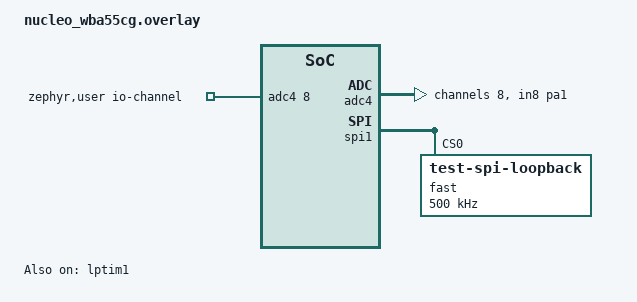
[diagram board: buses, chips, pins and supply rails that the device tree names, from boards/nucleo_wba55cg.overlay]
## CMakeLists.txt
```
# SPDX-License-Identifier: Apache-2.0

cmake_minimum_required(VERSION 3.20.0)
find_package(Zephyr REQUIRED HINTS $ENV{ZEPHYR_BASE})
project(stm32_pm_suspend_to_ram)

target_sources(app PRIVATE src/main.c)
```

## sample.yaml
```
sample:
  name: STM32 PM Standby Power Management
tests:
  sample.boards.stm32.power_mgmt.suspend_to_ram:
    tags:
      - power
    harness: console
    harness_config:
      type: one_line
      regex:
        - "Exit Standby"
    filter: dt_compat_enabled("zephyr,power-state") and
            dt_enabled_alias_with_parent_compat("led0", "gpio-leds") and
            dt_compat_enabled("st,stm32-lptim")
    extra_args: "CONFIG_DEBUG=y"
    platform_allow:
      - nucleo_wba55cg
```

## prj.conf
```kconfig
CONFIG_PM=y
CONFIG_PM_DEVICE=y
CONFIG_PM_DEVICE_RUNTIME=y
CONFIG_PM_DEVICE_SYSTEM_MANAGED=y
CONFIG_PM_S2RAM=y
CONFIG_ADC=y
CONFIG_ENTROPY_GENERATOR=y
CONFIG_SPI=y
CONFIG_SPI_STM32_DMA=y
CONFIG_SPI_STM32_INTERRUPT=n
CONFIG_SPI_ASYNC=n
```

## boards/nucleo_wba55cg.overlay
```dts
/*
 * SPDX-License-Identifier: Apache-2.0
 *
 * Copyright (c) 2023 STMicroelectronics
 */

/ {
	/* Change min residency time to ease power consumption measurement */
	cpus {
		cpu0: cpu@0 {
			cpu-power-states = <&stop0 &stop1 &standby>;
		};

		power-states {
			stop0: state0 {
				min-residency-us = <500000>;
				exit-latency-us = <50>;
			};
			stop1: state1 {
				min-residency-us = <1000000>;
				exit-latency-us = <100>;
			};
			standby: state2 {
				min-residency-us = <2000000>;
				exit-latency-us = <1000>;
			};
		};
	};

	zephyr,user {
		/* adjust channel number according to pinmux in board.dts */
		io-channels = <&adc4 8>;
	};
};

&lptim1 {
	status = "okay";
};

&adc4 {
	pinctrl-0 = <&adc4_in8_pa1>;
	#address-cells = <1>;
	#size-cells = <0>;

	channel@8 {
		reg = <8>;
		zephyr,gain = "ADC_GAIN_1";
		zephyr,reference = "ADC_REF_INTERNAL";
		zephyr,acquisition-time = <ADC_ACQ_TIME_MAX>;
		zephyr,resolution = <12>;
	};
};

&spi1 {
	dmas = <&gpdma1 0 2 (STM32_DMA_PERIPH_TX | STM32_DMA_PRIORITY_HIGH)
		&gpdma1 1 1 (STM32_DMA_PERIPH_RX | STM32_DMA_PRIORITY_HIGH)>;
	dma-names = "tx", "rx";
	fast@0 {
		compatible = "test-spi-loopback";
		reg = <0>;
		spi-max-frequency = <500000>;
	};
};

&gpdma1 {
	status = "okay";
};
```

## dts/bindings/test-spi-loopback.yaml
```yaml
#
# Copyright (c) 2024 STMicroelectronics
#
# SPDX-License-Identifier: Apache-2.0
#

description: |
    This binding provides resources required to build and run an SPI
    loopback test under power management conditions

compatible: "test-spi-loopback"

include: [spi-device.yaml]
```

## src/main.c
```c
/*
 * Copyright (c) 2024 STMicroelectronics
 *
 * SPDX-License-Identifier: Apache-2.0
 */

#include <zephyr/kernel.h>
#include <zephyr/device.h>
#include <zephyr/devicetree.h>
#include <zephyr/drivers/gpio.h>
#include <zephyr/sys/printk.h>
#include <zephyr/pm/pm.h>
#include <zephyr/pm/device_runtime.h>
#include <zephyr/drivers/adc.h>
#include <zephyr/drivers/entropy.h>
#include <zephyr/drivers/spi.h>
#include <string.h>
#include <stdio.h>
#include <assert.h>

#define SLEEP_TIME_STOP0_MS	800
#define SLEEP_TIME_STOP1_MS	1500
#define SLEEP_TIME_STANDBY_MS	3000
#define SLEEP_TIME_BUSY_MS	2000

static const struct gpio_dt_spec led =
	GPIO_DT_SPEC_GET(DT_ALIAS(led2), gpios);

#if !DT_NODE_EXISTS(DT_PATH(zephyr_user)) || \
	!DT_NODE_HAS_PROP(DT_PATH(zephyr_user), io_channels)
#error "No suitable devicetree overlay specified"
#endif

#define DT_SPEC_AND_COMMA(node_id, prop, idx) \
	ADC_DT_SPEC_GET_BY_IDX(node_id, idx),

/* Data of ADC io-channels specified in devicetree. */
static const struct adc_dt_spec adc_channels[] = {
	DT_FOREACH_PROP_ELEM(DT_PATH(zephyr_user), io_channels,
			     DT_SPEC_AND_COMMA)
};

const struct device *rng_dev;

#define BUFFER_LENGTH	3

static uint8_t entropy_buffer[BUFFER_LENGTH] = {0};

#define SPI_TEST_DEV	DT_COMPAT_GET_ANY_STATUS_OKAY(test_spi_loopback)

#define FRAME_SIZE (8)

#define SPI_OP(frame_size) SPI_OP_MODE_MASTER | SPI_MODE_CPOL | \
	       SPI_MODE_CPHA | SPI_WORD_SET(frame_size) | SPI_LINES_SINGLE

static struct spi_dt_spec spi_test_dev = SPI_DT_SPEC_GET(SPI_TEST_DEV, SPI_OP(FRAME_SIZE), 0);

#define SPI_BUF_SIZE 18

static const char spi_tx_data[SPI_BUF_SIZE] = "0123456789abcdef-\0";
static __aligned(32) char spi_buffer_tx[SPI_BUF_SIZE] __used;
static __aligned(32) char spi_buffer_rx[SPI_BUF_SIZE] __used;

static uint8_t spi_buffer_print_tx[SPI_BUF_SIZE * 5 + 1];
static uint8_t spi_buffer_print_rx[SPI_BUF_SIZE * 5 + 1];

static void to_display_format(const uint8_t *src, size_t size, char *dst)
{
	size_t i;

	for (i = 0; i < size; i++) {
		sprintf(dst + 5 * i, "0x%02x,", src[i]);
	}
}

static int spi_test(void)
{
	const struct spi_buf tx_bufs[] = {
		{
			.buf = spi_buffer_tx,
			.len = SPI_BUF_SIZE,
		},
	};
	const struct spi_buf rx_bufs[] = {
		{
			.buf = spi_buffer_rx,
			.len = SPI_BUF_SIZE,
		},
	};
	const struct spi_buf_set tx = {
		.buffers = tx_bufs,
		.count = ARRAY_SIZE(tx_bufs)
	};
	const struct spi_buf_set rx = {
		.buffers = rx_bufs,
		.count = ARRAY_SIZE(rx_bufs)
	};

	int ret;

	ret = spi_transceive_dt(&spi_test_dev, &tx, &rx);
	if (ret) {
		printk("SPI transceive failed: %d\n", ret);
		return ret;
	}

	if (memcmp(spi_buffer_tx, spi_buffer_rx, SPI_BUF_SIZE)) {
		to_display_format(spi_buffer_tx, SPI_BUF_SIZE, spi_buffer_print_tx);
		to_display_format(spi_buffer_rx, SPI_BUF_SIZE, spi_buffer_print_rx);
		printk("Buffer contents are different\n");
		printk("tx: %s\n", spi_buffer_print_tx);
		printk("rx: %s\n", spi_buffer_print_rx);
		return -1;
	}

	return 0;
}

static void spi_setup(void)
{
	memset(spi_buffer_tx, 0, sizeof(spi_buffer_tx));
	memcpy(spi_buffer_tx, spi_tx_data, sizeof(spi_tx_data));

	if (!spi_is_ready_dt(&spi_test_dev)) {
		printk("Fast spi lookback device is not ready\n");
	}
}

static int adc_test(void)
{
	int err;
	static uint32_t count;
	uint16_t buf;
	struct adc_sequence sequence = {
		.buffer = &buf,
		/* buffer size in bytes, not number of samples */
		.buffer_size = sizeof(buf),
	};

	/* Configure channels individually prior to sampling. */
	for (size_t i = 0U; i < ARRAY_SIZE(adc_channels); i++) {
		if (!adc_is_ready_dt(&adc_channels[i])) {
			printk("ADC controller device %s not ready\n", adc_channels[i].dev->name);
			return 0;
		}

		err = adc_channel_setup_dt(&adc_channels[i]);
		if (err < 0) {
			printk("Could not setup channel #%d (%d)\n", i, err);
			return 0;
		}
	}

	printk("ADC reading[%u]:\n", count++);
	for (size_t i = 0U; i < ARRAY_SIZE(adc_channels); i++) {
		int32_t val_mv;

		printk("- %s, channel %d: ",
			adc_channels[i].dev->name,
			adc_channels[i].channel_id);

		(void)adc_sequence_init_dt(&adc_channels[i], &sequence);

		err = adc_read_dt(&adc_channels[i], &sequence);
		if (err < 0) {
			printk("Could not read (%d)\n", err);
			continue;
		}

		/*
		 * If using differential mode, the 16 bit value
		 * in the ADC sample buffer should be a signed 2's
		 * complement value.
		 */
		if (adc_channels[i].channel_cfg.differential) {
			val_mv = (int32_t)((int16_t)buf);
		} else {
			val_mv = (int32_t)buf;
		}
		printk("%"PRId32, val_mv);
		err = adc_raw_to_millivolts_dt(&adc_channels[i],
						&val_mv);
		/* conversion to mV may not be supported, skip if not */
		if (err < 0) {
			printk(" (value in mV not available)\n");
		} else {
			printk(" = %"PRId32" mV\n", val_mv);
		}
	}

	return 0;
}

void print_buf(uint8_t *buffer)
{
	int i;
	int count = 0;

	for (i = 0; i < BUFFER_LENGTH; i++) {
		printk("  0x%02x", buffer[i]);
		if (buffer[i] == 0x00) {
			count++;
		}
	}
	printk("\n");
}

static void loop(void)
{
	gpio_pin_set_dt(&led, 1);
	adc_test();
	if (!IS_ENABLED(CONFIG_PM_S2RAM)) {
		spi_test();
	}
	k_busy_wait(SLEEP_TIME_BUSY_MS*1000);
	gpio_pin_set_dt(&led, 0);
}

int main(void)
{
	__ASSERT_NO_MSG(gpio_is_ready_dt(&led));

	rng_dev = DEVICE_DT_GET(DT_CHOSEN(zephyr_entropy));
	if (!device_is_ready(rng_dev)) {
		printk("error: random device not ready");
	}

	spi_setup();

	printk("Device ready\n");

	while (true) {
		gpio_pin_configure_dt(&led, GPIO_OUTPUT_ACTIVE);
		loop();
		k_msleep(SLEEP_TIME_STOP0_MS);
		printk("Exit Stop0\n");

		loop();
		k_msleep(SLEEP_TIME_STOP1_MS);
		printk("Exit Stop1\n");

		(void)memset(entropy_buffer, 0x00, BUFFER_LENGTH);
		entropy_get_entropy(rng_dev, (char *)entropy_buffer, BUFFER_LENGTH);
		printk("Sync entropy: ");
		print_buf(entropy_buffer);

		loop();
		gpio_pin_configure_dt(&led, GPIO_DISCONNECTED);
		k_msleep(SLEEP_TIME_STANDBY_MS);
		printk("Exit Standby\n");
	}
	return 0;
}
```
